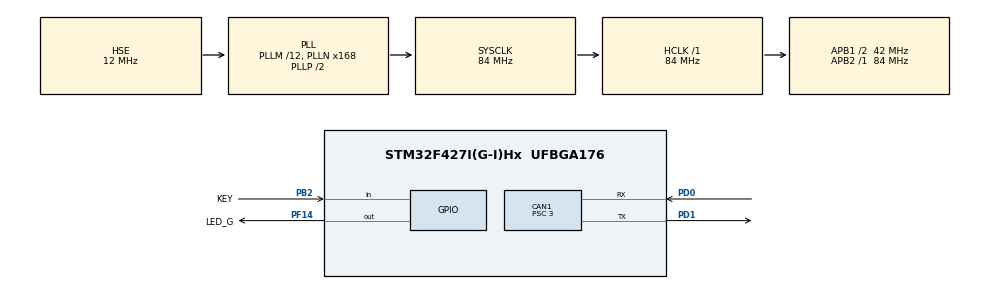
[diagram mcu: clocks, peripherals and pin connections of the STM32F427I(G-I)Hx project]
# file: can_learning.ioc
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CAN1.ABOM=ENABLE
CAN1.BS1=CAN_BS1_10TQ
CAN1.BS2=CAN_BS2_3TQ
CAN1.CalculateBaudRate=1000000
CAN1.CalculateTimeBit=1000
CAN1.CalculateTimeQuantum=71.42857142857143
CAN1.Prescaler=3
Mcu.Family=STM32F4
Mcu.Name=STM32F427I(G-I)Hx
Mcu.Package=UFBGA176
NVIC.CAN1_RX0_IRQn=true\:1\:0\:true\:false\:true\:true\:true\:true
NVIC.PriorityGroup=NVIC_PRIORITYGROUP_4
NVIC.TIM1_UP_TIM10_IRQn=true\:0\:0\:false\:false\:true\:true\:true\:true
PA13.Mode=Serial_Wire
PA13.Signal=SYS_JTMS-SWDIO
PA14.Mode=Serial_Wire
PA14.Signal=SYS_JTCK-SWCLK
PB2/BOOT1.GPIO_Label=KEY
PB2/BOOT1.Signal=GPIO_Input
PD0.Mode=CAN_Activate
PD0.Signal=CAN1_RX
PD1.Mode=CAN_Activate
PD1.Signal=CAN1_TX
PF14.GPIO_Label=LED_G
PF14.Signal=GPIO_Output
PH0/OSC_IN.Mode=HSE-External-Oscillator
PH0/OSC_IN.Signal=RCC_OSC_IN
PH1/OSC_OUT.Mode=HSE-External-Oscillator
PH1/OSC_OUT.Signal=RCC_OSC_OUT
ProjectManager.HeapSize=0x200
ProjectManager.StackSize=0x400
ProjectManager.TargetToolchain=MDK-ARM V5.32
RCC.48MHZClocksFreq_Value=42000000
RCC.AHBFreq_Value=84000000
RCC.APB1CLKDivider=RCC_HCLK_DIV2
RCC.APB1Freq_Value=42000000
RCC.APB1TimFreq_Value=84000000
RCC.APB2Freq_Value=84000000
RCC.APB2TimFreq_Value=84000000
RCC.CortexFreq_Value=84000000
RCC.HCLKFreq_Value=84000000
RCC.HSE_VALUE=12000000
RCC.HSI_VALUE=16000000
RCC.LSE_VALUE=32768
RCC.PLLM=12
RCC.PLLN=168
RCC.PLLSourceVirtual=RCC_PLLSOURCE_HSE
RCC.SYSCLKFreq_VALUE=84000000
RCC.SYSCLKSource=RCC_SYSCLKSOURCE_PLLCLK
RCC.VCOOutputFreq_Value=168000000
TIM1.Period=400
TIM1.Prescaler=210
VP_TIM1_VS_ClockSourceINT.Mode=Internal
board=custom

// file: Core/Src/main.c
/* USER CODE BEGIN Header */
/**
  ******************************************************************************
  * @file           : main.c
  * @brief          : Main program body
  ******************************************************************************
  * @attention
  *
  * Copyright (c) 2024 STMicroelectronics.
  * All rights reserved.
  *
  * This software is licensed under terms that can be found in the LICENSE file
  * in the root directory of this software component.
  * If no LICENSE file comes with this software, it is provided AS-IS.
  *
  ******************************************************************************
  */
/* USER CODE END Header */
#include "main.h"
#include "can.h"
#include "gpio.h"
#include "tim.h"

void SystemClock_Config(void);

int main(void) {

    /* MCU Configuration--------------------------------------------------------*/

    /* Reset of all peripherals, Initializes the Flash interface and the Systick. */
    HAL_Init();

    /* Configure the system clock */
    SystemClock_Config();

    /* Initialize all configured peripherals */
    MX_GPIO_Init();
    MX_CAN1_Init();
    MX_TIM1_Init();
    /* USER CODE BEGIN 2 */
    HAL_GPIO_WritePin(LED_G_GPIO_Port, LED_G_Pin, GPIO_PIN_SET);
    // CAN Rx
    CAN_FilterTypeDef filter_config = { .FilterIdHigh = 0x0000,
                                        .FilterIdLow = 0x0088,
                                        .FilterMaskIdHigh = 0x0000,
                                        .FilterMaskIdLow = 0xFFFF,
                                        .FilterFIFOAssignment = CAN_FILTER_FIFO0,
                                        .FilterBank = 0,
                                        .FilterMode = CAN_FILTERMODE_IDMASK,
                                        .FilterScale = CAN_FILTERSCALE_16BIT,
                                        .FilterActivation = CAN_FILTER_ENABLE,
                                        .SlaveStartFilterBank = 0 };
    HAL_CAN_ConfigFilter(&hcan1, &filter_config);
    HAL_CAN_Start(&hcan1);
    HAL_CAN_ActivateNotification(&hcan1, CAN_IT_RX_FIFO0_MSG_PENDING);

    // CAN Tx
    CAN_TxHeaderTypeDef can_tx_header = { .StdId = 0x0066,
                                          .ExtId = 0,
                                          .IDE = CAN_ID_STD,
                                          .RTR = CAN_RTR_DATA,
                                          .DLC = 8,
                                          .TransmitGlobalTime = DISABLE };
    uint32_t tx_mailbox;
    uint8_t can_tx_data[8] = { 'A', 0x00, 0x00, 0x00, 0x00, 0x00, 0x00, 0x00 };
    /* USER CODE END 2 */

    /* Infinite loop */
    while (1) {
        if (HAL_GPIO_ReadPin(KEY_GPIO_Port, KEY_Pin) == GPIO_PIN_SET) {
            while (HAL_GPIO_ReadPin(KEY_GPIO_Port, KEY_Pin) == GPIO_PIN_SET) {
            }
            HAL_CAN_AddTxMessage(&hcan1, &can_tx_header, can_tx_data, &tx_mailbox);
        }
    }
}

void SystemClock_Config(void) {
    RCC_OscInitTypeDef RCC_OscInitStruct = { 0 };
    RCC_ClkInitTypeDef RCC_ClkInitStruct = { 0 };

    /** Configure the main internal regulator output voltage
  */
    __HAL_RCC_PWR_CLK_ENABLE();
    __HAL_PWR_VOLTAGESCALING_CONFIG(PWR_REGULATOR_VOLTAGE_SCALE3);

    /** Initializes the RCC Oscillators according to the specified parameters
  * in the RCC_OscInitTypeDef structure.
  */
    RCC_OscInitStruct.OscillatorType = RCC_OSCILLATORTYPE_HSE;
    RCC_OscInitStruct.HSEState = RCC_HSE_ON;
    RCC_OscInitStruct.PLL.PLLState = RCC_PLL_ON;
    RCC_OscInitStruct.PLL.PLLSource = RCC_PLLSOURCE_HSE;
    RCC_OscInitStruct.PLL.PLLM = 12;
    RCC_OscInitStruct.PLL.PLLN = 168;
    RCC_OscInitStruct.PLL.PLLP = RCC_PLLP_DIV2;
    RCC_OscInitStruct.PLL.PLLQ = 4;
    if (HAL_RCC_OscConfig(&RCC_OscInitStruct) != HAL_OK) {
        Error_Handler();
    }

    /** Initializes the CPU, AHB and APB buses clocks
  */
    RCC_ClkInitStruct.ClockType =
        RCC_CLOCKTYPE_HCLK | RCC_CLOCKTYPE_SYSCLK | RCC_CLOCKTYPE_PCLK1 | RCC_CLOCKTYPE_PCLK2;
    RCC_ClkInitStruct.SYSCLKSource = RCC_SYSCLKSOURCE_PLLCLK;
    RCC_ClkInitStruct.AHBCLKDivider = RCC_SYSCLK_DIV1;
    RCC_ClkInitStruct.APB1CLKDivider = RCC_HCLK_DIV2;
    RCC_ClkInitStruct.APB2CLKDivider = RCC_HCLK_DIV1;

    if (HAL_RCC_ClockConfig(&RCC_ClkInitStruct, FLASH_LATENCY_2) != HAL_OK) {
        Error_Handler();
    }
}

void Error_Handler(void) {
    __disable_irq();
    while (1) {
    }
}
